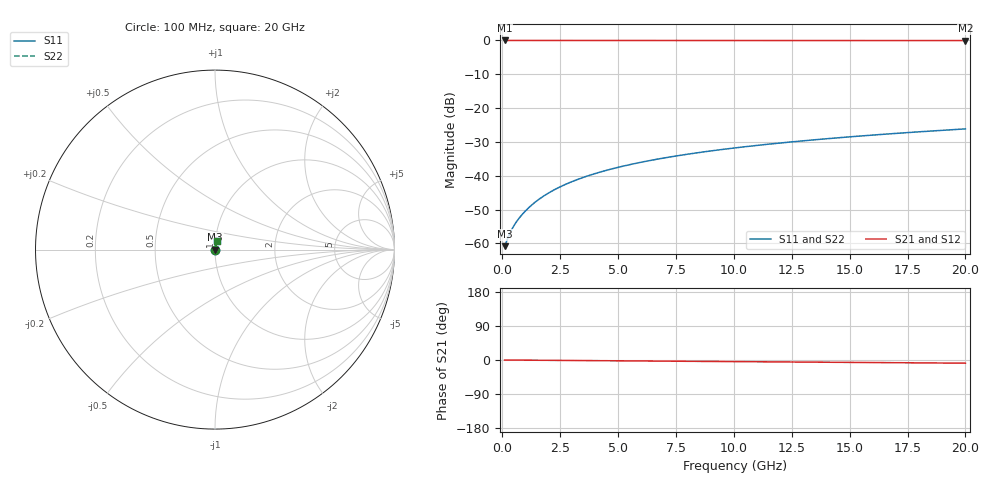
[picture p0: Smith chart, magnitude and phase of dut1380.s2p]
! Touchstone file exported from HFSS 2026.1.0
!  File:  C:/ffzhzh/LocalFiles/Ansys_Project_Files/temp_train_TMRDL_1380_1783166029_18472.aedt
!  Generated:  07:55:03 PM Jul  4, 2026
!  Design:  TMRDL
!  Project:  temp_train_TMRDL_1380_1783166029_18472
! Variables:
!  h_bsmrdl = 2um
!  h_ox = 20um
!  h_rdl = 5um
!  h_sub = 80um
!  h_tmrdl = 3.53um
!  h_tsv = 80um
!  h_via = 3um
!  l_bsmrdl = 300um
!  l_sub = 523.13um
!  l_tmrdl = 123.13um
!  m_sub = 200um
!  pitch = 29.36um
!  r_tsv = 6um
!  s_tmrdl = 10um
!  w_bsmrdl = 18um
!  w_sub = 500um
!  w_tmrdl = 20.18um
!  x_tsv_center1 = 133.22um
!  x_tsv_center2 = 451.22um
!  x_tsv_center3 = 594.53um
!  x_tsv_center4 = 912.53um
!  x_tsv_center5 = 1055.84um
!  x_tsv_center6 = 1373.84um
# GHz S MA R 50.000000
! Terminal data exported
! Port[1] = TM_RDL1_1_T1
! Port[2] = TM_RDL1_1_T2
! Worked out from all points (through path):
!   200 points, 100 MHz to 20 GHz, reference 50 ohm
!   highest |S21| = -0.01 dB at 100 MHz (marker M1); lowest = 0.0 dB at 20 GHz (marker M2)
!   group delay of S21, straight-line fit = 1.16 ps
!   lowest |S11| = -60.8 dB at 100 MHz (marker M3), VSWR 1.00, Z = 50.1 + j0.0346 ohm
!   |S11| at or under -10 dB: start of sweep to end of sweep
!   |S22| runs from -60.8 to -26.2 dB; largest |S21 - S12| = 3.2e-15
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0.1  0.0009077 22.4  0.9992 -0.0  0.9992 -0.0  0.0009077 22.4
! Gamma 0 0 0 0
! Port Impedance 50 0 50 0
0.3  0.001347 45.5  0.9991 -0.1  0.9991 -0.1  0.001347 45.5
0.4  0.001584 51.2  0.999 -0.2  0.999 -0.2  0.001584 51.2
0.6  0.002054 58.8  0.9989 -0.3  0.9989 -0.3  0.002054 58.8
0.7  0.00229 61.5  0.9989 -0.3  0.9989 -0.3  0.00229 61.5
0.9  0.00277 65.9  0.9989 -0.4  0.9989 -0.4  0.00277 65.9
1.1  0.00326 69.0  0.9989 -0.5  0.9989 -0.5  0.00326 69.0
1.3  0.00376 71.4  0.9988 -0.6  0.9988 -0.6  0.00376 71.4
1.7  0.004778 74.6  0.9988 -0.7  0.9988 -0.7  0.004778 74.6
2.2  0.006069 77.1  0.9987 -1.0  0.9987 -1.0  0.006069 77.1
2.8  0.007627 78.7  0.9986 -1.2  0.9986 -1.2  0.007627 78.7
3.5  0.009443 79.7  0.9985 -1.5  0.9985 -1.5  0.009443 79.7
4.2  0.01125 80.3  0.9984 -1.8  0.9984 -1.8  0.01125 80.3
5  0.01329 80.5  0.9982 -2.1  0.9982 -2.1  0.01329 80.5
5.9  0.01557 80.6  0.998 -2.5  0.998 -2.5  0.01557 80.6
6.8  0.01782 80.6  0.9978 -2.9  0.9978 -2.9  0.01782 80.6
8.3  0.02152 80.3  0.9975 -3.5  0.9975 -3.5  0.02152 80.3
10.1  0.02589 79.9  0.997 -4.3  0.997 -4.3  0.02589 79.9
11.7  0.02973 79.5  0.9967 -4.9  0.9967 -4.9  0.02973 79.5
13.4  0.03377 79.0  0.9963 -5.6  0.9963 -5.6  0.03377 79.0
16.7  0.04152 78.1  0.9956 -7.0  0.9956 -7.0  0.04152 78.1
20  0.04919 77.1  0.9949 -8.4  0.9949 -8.4  0.04919 77.1
